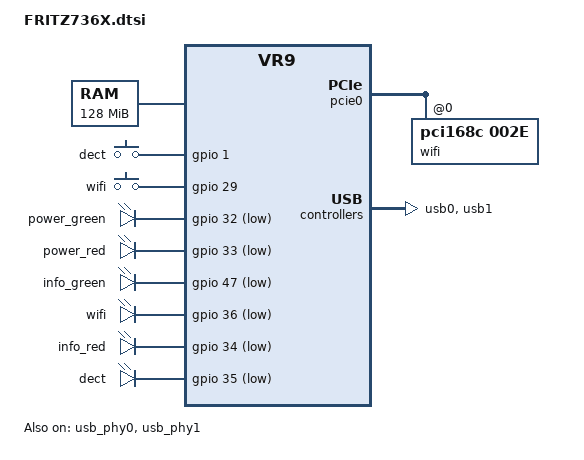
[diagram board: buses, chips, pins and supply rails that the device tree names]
// SPDX-License-Identifier: GPL-2.0-or-later OR MIT
/dts-v1/;

#include "vr9.dtsi"

#include <dt-bindings/input/input.h>
#include <dt-bindings/mips/lantiq_rcu_gphy.h>

/ {
	compatible = "avm,fritz736x", "lantiq,xway", "lantiq,vr9";

	chosen {
		bootargs = "console=ttyLTQ0,115200";
	};

	aliases {
		led-boot = &power_green;
		led-failsafe = &power_red;
		led-running = &power_green;
		led-upgrade = &power_green;
		led-dsl = &info_green;
		led-wifi = &wifi;
	};

	memory@0 {
		reg = <0x0 0x8000000>;
	};

	keys {
		compatible = "gpio-keys-polled";
		poll-interval = <100>;

		dect {
			label = "dect";
			gpios = <&gpio 1 GPIO_ACTIVE_HIGH>;
			linux,code = <KEY_PHONE>;
		};

		wifi {
			label = "wifi";
			gpios = <&gpio 29 GPIO_ACTIVE_HIGH>;
			linux,code = <KEY_WLAN>;
		};
	};

	leds: leds {
		compatible = "gpio-leds";

		power_green: power {
			gpios = <&gpio 32 GPIO_ACTIVE_LOW>;
			default-state = "keep";
		};

		power_red: power2 {
			gpios = <&gpio 33 GPIO_ACTIVE_LOW>;
		};

		info_green: info_green {
			gpios = <&gpio 47 GPIO_ACTIVE_LOW>;
		};

		wifi: wifi {
			gpios = <&gpio 36 GPIO_ACTIVE_LOW>;
		};

		info_red: info_red {
			gpios = <&gpio 34 GPIO_ACTIVE_LOW>;
		};

		dect: dect {
			gpios = <&gpio 35 GPIO_ACTIVE_LOW>;
		};
	};
};

&gpio {
	pinctrl-names = "default";
	pinctrl-0 = <&state_default>;

	state_default: pinmux {
		mdio {
			lantiq,groups = "mdio";
			lantiq,function = "mdio";
		};

		phy-rst {
			lantiq,pins = "io37", "io44";
			lantiq,pull = <0>;
			lantiq,open-drain;
			lantiq,output = <1>;
		};
	};

};

&pcie0 {
	status = "okay";

	pcie@0 {
		reg = <0 0 0 0 0>;
		#interrupt-cells = <1>;
		#size-cells = <1>;
		#address-cells = <2>;
		device_type = "pci";

		wifi@168c,002e {
			compatible = "pci168c,002e";
			reg = <0 0 0 0 0>;
			qca,no-eeprom; /* load from ath9k-eeprom-pci-0000:01:00.0.bin */
		};
	};
};

&usb_phy0 {
	status = "okay";
};

&usb_phy1 {
	status = "okay";
};

&usb0 {
	status = "okay";
};

&usb1 {
	status = "okay";
};
